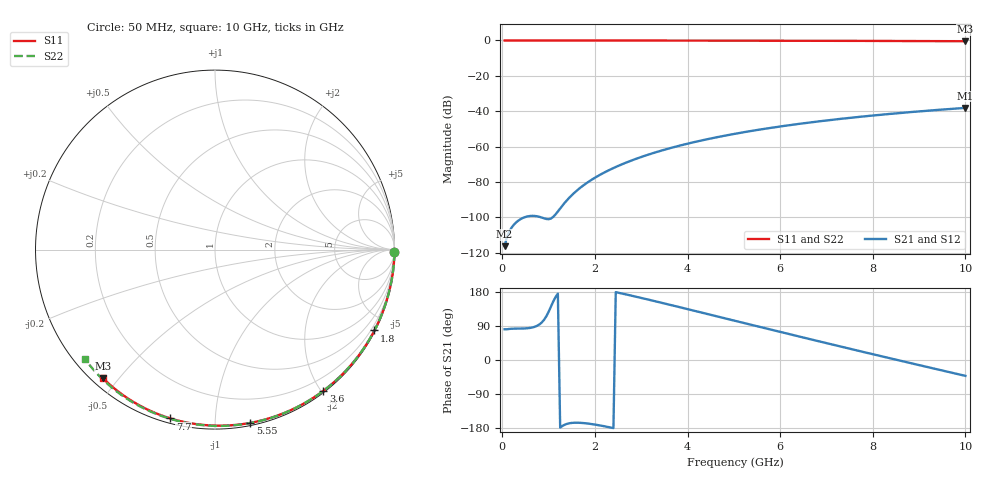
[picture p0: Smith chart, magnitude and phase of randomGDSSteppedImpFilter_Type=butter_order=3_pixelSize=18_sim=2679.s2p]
! freq	dB(S11)	phase(S11)	dB(S12)	phase(S12)
!  dB(S21)	phase(S21)	dB(S22)	phase(S22)
!S-par simulation data
#  GHz  S  DB  R 50
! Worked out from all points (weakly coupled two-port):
!   200 points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, 50 MHz to 10 GHz, reference 50 ohm
!   highest |S21| = -38.08 dB at 10 GHz (marker M1); lowest = -116.2 dB at 50 MHz (marker M2)
!   lowest |S11| = -0.4 dB at 10 GHz (marker M3), VSWR 39.18, Z = 1.54 - j22.7 ohm
!   |S11| at or under -10 dB: nowhere
!   |S22| runs from -0.5 to 0.0 dB; largest |S21 - S12| = 0
!   S11 on the Smith chart (normalised r, x): 50 MHz: open; 1.8 GHz: 0.04, -4.19; 3.6 GHz: 0.02, -2.03; 5.55 GHz: 0.02, -1.22; 7.7 GHz: 0.02, -0.77; 10 GHz: 0.03, -0.45
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0.05  -0.00 -0.8  -116.20 81.2  -116.20 81.2  -0.00 -0.8
0.45  -0.01 -6.8  -100.20 83.1  -100.20 83.1  -0.01 -7.3
0.9  -0.02 -13.6  -100.47 105.8  -100.47 105.8  -0.02 -14.5
1.75  -0.03 -26.1  -81.89 -166.4  -81.89 -166.4  -0.04 -28.0
1.8  -0.03 -26.9  -80.94 -167.0  -80.94 -167.0  -0.04 -28.7
1.85  -0.04 -27.6  -80.04 -167.7  -80.04 -167.7  -0.04 -29.5
2.15  -0.04 -32.0  -75.32 -173.6  -75.32 -173.6  -0.04 -34.2
2.35  -0.04 -34.9  -72.68 -178.4  -72.68 -178.4  -0.05 -37.3
2.55  -0.05 -37.7  -70.32 176.4  -70.32 176.4  -0.05 -40.3
2.95  -0.06 -43.4  -66.28 165.2  -66.28 165.2  -0.06 -46.4
3.4  -0.07 -49.8  -62.49 152.2  -62.49 152.2  -0.07 -53.2
3.6  -0.07 -52.5  -61.00 146.3  -61.00 146.3  -0.08 -56.1
3.9  -0.08 -56.7  -58.95 137.3  -58.95 137.3  -0.08 -60.5
4.3  -0.09 -62.1  -56.50 125.3  -56.50 125.3  -0.09 -66.3
5.05  -0.11 -72.0  -52.59 102.7  -52.59 102.7  -0.12 -76.8
5.55  -0.13 -78.5  -50.38 87.7  -50.38 87.7  -0.14 -83.7
6.1  -0.15 -85.4  -48.22 71.2  -48.22 71.2  -0.16 -91.1
6.7  -0.18 -92.8  -46.14 53.4  -46.14 53.4  -0.19 -98.9
7.7  -0.24 -104.8  -43.19 24.0  -43.19 24.0  -0.26 -111.7
8.35  -0.29 -112.4  -41.54 5.2  -41.54 5.2  -0.31 -119.8
9.2  -0.36 -122.1  -39.65 -19.2  -39.65 -19.2  -0.39 -130.2
10  -0.44 -131.1  -38.08 -41.9  -38.08 -41.9  -0.47 -140.0
